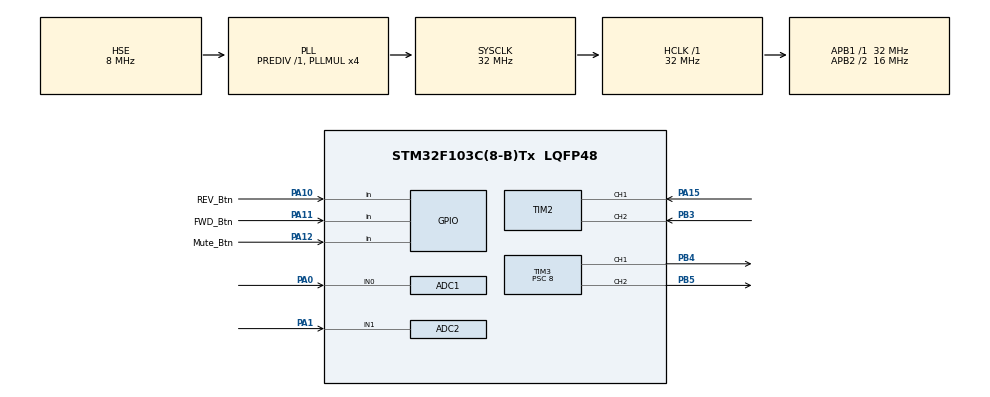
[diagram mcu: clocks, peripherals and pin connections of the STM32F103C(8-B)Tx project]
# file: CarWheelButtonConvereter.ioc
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ADC1.Channel-0\#ChannelRegularConversion=ADC_CHANNEL_0
ADC1.ContinuousConvMode=ENABLE
ADC1.NbrOfConversion=1
ADC1.NbrOfConversionFlag=1
ADC1.Rank-0\#ChannelRegularConversion=1
ADC1.SamplingTime-0\#ChannelRegularConversion=ADC_SAMPLETIME_239CYCLES_5
ADC1.master=1
ADC2.Channel-0\#ChannelRegularConversion=ADC_CHANNEL_1
ADC2.ContinuousConvMode=ENABLE
ADC2.EnableInjectedConversion=DISABLE
ADC2.NbrOfConversion=1
ADC2.NbrOfConversionFlag=1
ADC2.Rank-0\#ChannelRegularConversion=1
ADC2.SamplingTime-0\#ChannelRegularConversion=ADC_SAMPLETIME_239CYCLES_5
Mcu.Family=STM32F1
Mcu.Name=STM32F103C(8-B)Tx
Mcu.Package=LQFP48
NVIC.PriorityGroup=NVIC_PRIORITYGROUP_4
PA0-WKUP.Signal=ADCx_IN0
PA1.Signal=ADCx_IN1
PA10.GPIO_Label=REV_Btn
PA10.GPIO_PuPd=GPIO_PULLDOWN
PA10.Signal=GPIO_Input
PA11.GPIO_Label=FWD_Btn
PA11.GPIO_PuPd=GPIO_PULLDOWN
PA11.Signal=GPIO_Input
PA12.GPIO_Label=Mute_Btn
PA12.GPIO_PuPd=GPIO_PULLDOWN
PA12.Signal=GPIO_Input
PA13.Mode=Serial_Wire
PA13.Signal=SYS_JTMS-SWDIO
PA14.Mode=Serial_Wire
PA14.Signal=SYS_JTCK-SWCLK
PA15.Signal=S_TIM2_CH1_ETR
PB3.Signal=S_TIM2_CH2
PB4.GPIO_ModeDefaultPP=GPIO_MODE_AF_OD
PB4.GPIO_Speed=GPIO_SPEED_FREQ_HIGH
PB4.Signal=S_TIM3_CH1
PB5.GPIO_ModeDefaultPP=GPIO_MODE_AF_OD
PB5.GPIO_Speed=GPIO_SPEED_FREQ_HIGH
PB5.Signal=S_TIM3_CH2
PC14-OSC32_IN.Mode=LSE-External-Oscillator
PC14-OSC32_IN.Signal=RCC_OSC32_IN
PC15-OSC32_OUT.Mode=LSE-External-Oscillator
PC15-OSC32_OUT.Signal=RCC_OSC32_OUT
PD0-OSC_IN.Mode=HSE-External-Oscillator
PD0-OSC_IN.Signal=RCC_OSC_IN
PD1-OSC_OUT.Mode=HSE-External-Oscillator
PD1-OSC_OUT.Signal=RCC_OSC_OUT
ProjectManager.HeapSize=0x200
ProjectManager.StackSize=0x400
ProjectManager.TargetToolchain=STM32CubeIDE
RCC.ADCPresc=RCC_ADCPCLK2_DIV8
RCC.AHBFreq_Value=32000000
RCC.APB1Freq_Value=32000000
RCC.APB1TimFreq_Value=32000000
RCC.APB2CLKDivider=RCC_HCLK_DIV2
RCC.APB2Freq_Value=16000000
RCC.APB2TimFreq_Value=32000000
RCC.HCLKFreq_Value=32000000
RCC.PLLMUL=RCC_PLL_MUL4
RCC.PLLSourceVirtual=RCC_PLLSOURCE_HSE
RCC.SYSCLKFreq_VALUE=32000000
RCC.SYSCLKSource=RCC_SYSCLKSOURCE_PLLCLK
RCC.USBFreq_Value=32000000
SH.ADCx_IN0.0=ADC1_IN0,IN0
SH.ADCx_IN1.0=ADC2_IN1,IN1
SH.S_TIM2_CH1_ETR.0=TIM2_CH1,Encoder_Interface
SH.S_TIM2_CH2.0=TIM2_CH2,Encoder_Interface
SH.S_TIM3_CH1.0=TIM3_CH1,PWM Generation1 CH1
SH.S_TIM3_CH2.0=TIM3_CH2,PWM Generation2 CH2
TIM2.AutoReloadPreload=TIM_AUTORELOAD_PRELOAD_ENABLE
TIM2.EncoderMode=TIM_ENCODERMODE_TI12
TIM2.IC1Filter=10
TIM2.IC2Filter=10
TIM3.Channel-PWM\ Generation1\ CH1=TIM_CHANNEL_1
TIM3.Channel-PWM\ Generation2\ CH2=TIM_CHANNEL_2
TIM3.OCPolarity_1=TIM_OCPOLARITY_LOW
TIM3.OCPolarity_2=TIM_OCPOLARITY_LOW
TIM3.Period=249
TIM3.Prescaler=8
VP_ADC1_Vref_Input.Mode=IN-Vrefint
VP_IWDG_VS_IWDG.Mode=IWDG_Activate
board=custom

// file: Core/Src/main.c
/* USER CODE BEGIN Header */
/**
  ******************************************************************************
  * @file           : main.c
  * @brief          : Main program body
  ******************************************************************************
  * @attention
  *
  * Copyright (c) 2023 STMicroelectronics.
  * All rights reserved.
  *
  * This software is licensed under terms that can be found in the LICENSE file
  * in the root directory of this software component.
  * If no LICENSE file comes with this software, it is provided AS-IS.
  *
  ******************************************************************************
  */
/* USER CODE END Header */
#include "main.h"

ADC_HandleTypeDef hadc1;
ADC_HandleTypeDef hadc2;

IWDG_HandleTypeDef hiwdg;

TIM_HandleTypeDef htim2;
TIM_HandleTypeDef htim3;

void SystemClock_Config(void);
static void MX_GPIO_Init(void);
static void MX_ADC1_Init(void);
static void MX_ADC2_Init(void);
static void MX_IWDG_Init(void);
static void MX_TIM3_Init(void);
static void MX_TIM2_Init(void);

int main(void)
{
  /* USER CODE BEGIN 1 */
	static uint16_t MA_Buffer1[MA_BUFFER_SIZE];
	static uint16_t MA_Buffer2[MA_BUFFER_SIZE];
	static uint8_t bufPointer = 0;
	uint32_t tempSum1, tempSum2;
	static uint8_t count1 = 0;
	static uint8_t count2 = 0;
	static uint8_t selectedIndex1 = 15;
	static uint8_t selectedIndex2 = 15;

	static uint16_t prevEncoder;
	static uint16_t currentEncoder;
	static uint32_t out1ChangeTime, out2ChangeTime;

	static uint16_t volIncreaseCnt = 0;
	static uint16_t volDecreaseCnt = 0;
	static uint8_t volReleaseFlag = 0;
	static uint8_t muteCount = 0;
	static uint8_t fwdCount = 0;
	static uint8_t revCount = 0;
	static uint8_t doMute = 0;
	static uint8_t doFwd = 0;
	static uint8_t doRev = 0;

	uint8_t index;

	const uint16_t thresholds1[] = {362, 651, 1016, 1489, 2129, 2400, 2969, 5000};
	const uint16_t thresholds2[] = {362, 651, 1016, 1489, 2129, 2400, 2969, 5000};
	//PWM values num of cycles @ timer clock, (4MHz), period is 250 cycles
	const uint8_t pwmValues1[16]= {240, 55, 30, 16, 8, 8, 2, 0, 0, 0, 0};
	const uint8_t pwmValues2[16]= {240, 55, 30, 16, 8, 8, 2, 0, 0, 0, 0};
	//Simulation based : {60, 44, 30, 22, 16, 10, 4, 0, 0}

  /* USER CODE END 1 */

  /* MCU Configuration--------------------------------------------------------*/

  /* Reset of all peripherals, Initializes the Flash interface and the Systick. */
  HAL_Init();

  /* Configure the system clock */
  SystemClock_Config();

  /* Initialize all configured peripherals */
  MX_GPIO_Init();
  MX_ADC1_Init();
  MX_ADC2_Init();
  MX_IWDG_Init();
  MX_TIM3_Init();
  MX_TIM2_Init();
  /* USER CODE BEGIN 2 */
  HAL_TIM_PWM_Start(&htim3, TIM_CHANNEL_1);
  HAL_TIM_PWM_Start(&htim3, TIM_CHANNEL_2);

  HAL_TIM_Encoder_Start(&htim2, TIM_CHANNEL_ALL);
  TIM2->CNT = 32768;
  prevEncoder = TIM2->CNT;

  HAL_ADCEx_Calibration_Start(&hadc1);
  HAL_ADCEx_Calibration_Start(&hadc2);

  HAL_ADC_Start(&hadc1);
  HAL_ADC_Start(&hadc2);
  /* USER CODE END 2 */

  /* Infinite loop */
  /* USER CODE BEGIN WHILE */
  while (1)
  {
	 HAL_IWDG_Refresh(&hiwdg);

	 HAL_ADC_PollForConversion(&hadc1, 10);
	 MA_Buffer1[bufPointer] = (uint16_t)HAL_ADC_GetValue(&hadc1);
	 HAL_ADC_PollForConversion(&hadc2, 10);
	 MA_Buffer2[bufPointer] = (uint16_t)HAL_ADC_GetValue(&hadc2);

	 bufPointer++;

	 // Main Inputs (Steering wheel buttons)
	 if (bufPointer >= MA_BUFFER_SIZE){
		 tempSum1 = 0;
		 tempSum2 = 0;
		 for (bufPointer = 0; bufPointer < MA_BUFFER_SIZE ; bufPointer++) {
			 tempSum1 += MA_Buffer1[bufPointer];
			 tempSum2 += MA_Buffer2[bufPointer];
		 }
		 bufPointer = 0;

		 tempSum1 = tempSum1 / MA_BUFFER_SIZE;
		 tempSum2 = tempSum2 / MA_BUFFER_SIZE;

		 // Find threshold for CH1
		 index = 0;
		 while (tempSum1 > thresholds1[index]){
			 index++;
		 }
		 // does it match the previous index?
		 if (selectedIndex1 == index){
			 count1++;
		 } else {
			 count1 = 0;
			 selectedIndex1 = index;
		 }
		 // Find threshold for CH2
		 index = 0;
		 while (tempSum2 > thresholds2[index]){
			 index++;
		 }
		 // does it match the previous index?
		 if (selectedIndex2 == index){
			 count2++;
		 } else {
			 count2 = 0;
			 selectedIndex2 = index;
		 }
		 // do we need to update the PWM
		 if (count1 >= COUNTS_TO_UPDATE){
			 if ((HAL_GetTick() - out1ChangeTime) > OUTPUT_HOLD_TICKS) {
				 if (TIM3->CCR1 != (uint16_t)pwmValues1[selectedIndex1]) {
					 TIM3->CCR1 = (uint16_t)pwmValues1[selectedIndex1];
					 out1ChangeTime = HAL_GetTick();
				}
				 count1 = 0;
			 } else {
				 count1 = COUNTS_TO_UPDATE;
			 }
		 }

		 if (count2 >= COUNTS_TO_UPDATE){
			 if ((HAL_GetTick() - out2ChangeTime) > OUTPUT_HOLD_TICKS)  {
				 if (TIM3->CCR2 != (uint16_t)pwmValues2[selectedIndex2]) {
					 TIM3->CCR2 = (uint16_t)pwmValues2[selectedIndex2];
					 out2ChangeTime = HAL_GetTick();
				 }
				 count2 = 0;
			 } else {
				 count2 = COUNTS_TO_UPDATE;
			 }
		 }
	 }

	 //Auxiliary inputs:

	 currentEncoder = TIM2->CNT;
	 if (prevEncoder < currentEncoder) {
		 volIncreaseCnt += (currentEncoder - prevEncoder);
		 volDecreaseCnt = 0;
	 } else if (prevEncoder > currentEncoder) {
		 volDecreaseCnt += (prevEncoder - currentEncoder);
		 volIncreaseCnt = 0;
	 }

	 //Center encoder if close to edges
	 if ((currentEncoder < 10000) || (currentEncoder > 55000)){
		 TIM2->CNT = 32768 + (int)(TIM2->CNT - currentEncoder);
		 currentEncoder = 32768;
	 }
	 prevEncoder = currentEncoder;

	 if (LL_GPIO_IsInputPinSet(Mute_Btn_GPIO_Port, Mute_Btn_Pin)) {
			 muteCount++;
	 } else {
		 muteCount = 0;
	 }

	 if (LL_GPIO_IsInputPinSet(FWD_Btn_GPIO_Port, FWD_Btn_Pin)) {
		 fwdCount++;
	 } else {
		 fwdCount = 0;
	 }

	 if (LL_GPIO_IsInputPinSet(REV_Btn_GPIO_Port, REV_Btn_Pin)) {
		 revCount++;
	 } else {
		 revCount = 0;
	 }

	 if (muteCount > MIN_BTN_COUNT) {
		 doMute = 1;
	 } else if (fwdCount > MIN_BTN_COUNT) {
		 doFwd = 1;
	 } else if (revCount > MIN_BTN_COUNT) {
		 doRev = 1;
	 }

	 if (doMute || doFwd || doRev) {
		 muteCount = 0;
		 fwdCount = 0;
		 revCount = 0;
	 }
	 // output 1
	 if ((HAL_GetTick() - out1ChangeTime) > OUTPUT_HOLD_TICKS) {
		 if (volReleaseFlag) {
			 TIM3->CCR1 = (uint16_t)pwmValues1[DEFAULT_INDEX1];
			 out1ChangeTime = HAL_GetTick();
			 volReleaseFlag = 0;
		 } else if (volIncreaseCnt){
			 TIM3->CCR1 = (uint16_t)pwmValues1[VOL_INCR_INDEX];
			 out1ChangeTime = HAL_GetTick();
			 volIncreaseCnt--;
			 volReleaseFlag = 1;
		 } else if (volDecreaseCnt){
			 TIM3->CCR1 = (uint16_t)pwmValues1[VOL_INCR_INDEX];
			 out1ChangeTime = HAL_GetTick();
			 volDecreaseCnt--;
			 volReleaseFlag = 1;
		 } else if (doMute) {
			 TIM3->CCR1 = (uint16_t)pwmValues1[MUTE_INDEX];
			 out1ChangeTime = HAL_GetTick();
			 doMute = 0;
		 } else if (doFwd) {
			 TIM3->CCR1 = (uint16_t)pwmValues1[FWD_INDEX];
			 out1ChangeTime = HAL_GetTick();
			 doFwd = 0;
		 } else if (doRev) {
			 TIM3->CCR1 = (uint16_t)pwmValues1[REV_INDEX];
			 out1ChangeTime = HAL_GetTick();
			 doRev = 0;
		 } else if (TIM3->CCR1 != (uint16_t)pwmValues1[DEFAULT_INDEX1]){
			 TIM3->CCR1 = (uint16_t)pwmValues1[DEFAULT_INDEX1];
			 out1ChangeTime = HAL_GetTick();
		 }
	 }
	 // output 2
	 if ((HAL_GetTick() - out2ChangeTime) > OUTPUT_HOLD_TICKS)  {
		 if (TIM3->CCR2 != (uint16_t)pwmValues1[DEFAULT_INDEX2]) {
			 TIM3->CCR2 = (uint16_t)pwmValues1[DEFAULT_INDEX2];
			 out2ChangeTime = HAL_GetTick();
		 }
	 }

    /* USER CODE END WHILE */

  }
}

void SystemClock_Config(void)
{
  RCC_OscInitTypeDef RCC_OscInitStruct = {0};
  RCC_ClkInitTypeDef RCC_ClkInitStruct = {0};
  RCC_PeriphCLKInitTypeDef PeriphClkInit = {0};

  /** Initializes the RCC Oscillators according to the specified parameters
  * in the RCC_OscInitTypeDef structure.
  */
  RCC_OscInitStruct.OscillatorType = RCC_OSCILLATORTYPE_LSI|RCC_OSCILLATORTYPE_HSE;
  RCC_OscInitStruct.HSEState = RCC_HSE_ON;
  RCC_OscInitStruct.HSEPredivValue = RCC_HSE_PREDIV_DIV1;
  RCC_OscInitStruct.HSIState = RCC_HSI_ON;
  RCC_OscInitStruct.LSIState = RCC_LSI_ON;
  RCC_OscInitStruct.PLL.PLLState = RCC_PLL_ON;
  RCC_OscInitStruct.PLL.PLLSource = RCC_PLLSOURCE_HSE;
  RCC_OscInitStruct.PLL.PLLMUL = RCC_PLL_MUL4;
  if (HAL_RCC_OscConfig(&RCC_OscInitStruct) != HAL_OK)
  {
    Error_Handler();
  }

  /** Initializes the CPU, AHB and APB buses clocks
  */
  RCC_ClkInitStruct.ClockType = RCC_CLOCKTYPE_HCLK|RCC_CLOCKTYPE_SYSCLK
                              |RCC_CLOCKTYPE_PCLK1|RCC_CLOCKTYPE_PCLK2;
  RCC_ClkInitStruct.SYSCLKSource = RCC_SYSCLKSOURCE_PLLCLK;
  RCC_ClkInitStruct.AHBCLKDivider = RCC_SYSCLK_DIV1;
  RCC_ClkInitStruct.APB1CLKDivider = RCC_HCLK_DIV1;
  RCC_ClkInitStruct.APB2CLKDivider = RCC_HCLK_DIV2;

  if (HAL_RCC_ClockConfig(&RCC_ClkInitStruct, FLASH_LATENCY_1) != HAL_OK)
  {
    Error_Handler();
  }
  PeriphClkInit.PeriphClockSelection = RCC_PERIPHCLK_ADC;
  PeriphClkInit.AdcClockSelection = RCC_ADCPCLK2_DIV8;
  if (HAL_RCCEx_PeriphCLKConfig(&PeriphClkInit) != HAL_OK)
  {
    Error_Handler();
  }
}

static void MX_ADC1_Init(void)
{

  ADC_ChannelConfTypeDef sConfig = {0};

  /** Common config
  */
  hadc1.Instance = ADC1;
  hadc1.Init.ScanConvMode = ADC_SCAN_DISABLE;
  hadc1.Init.ContinuousConvMode = ENABLE;
  hadc1.Init.DiscontinuousConvMode = DISABLE;
  hadc1.Init.ExternalTrigConv = ADC_SOFTWARE_START;
  hadc1.Init.DataAlign = ADC_DATAALIGN_RIGHT;
  hadc1.Init.NbrOfConversion = 1;
  if (HAL_ADC_Init(&hadc1) != HAL_OK)
  {
    Error_Handler();
  }

  /** Configure Regular Channel
  */
  sConfig.Channel = ADC_CHANNEL_0;
  sConfig.Rank = ADC_REGULAR_RANK_1;
  sConfig.SamplingTime = ADC_SAMPLETIME_239CYCLES_5;
  if (HAL_ADC_ConfigChannel(&hadc1, &sConfig) != HAL_OK)
  {
    Error_Handler();
  }

}

static void MX_ADC2_Init(void)
{

  ADC_ChannelConfTypeDef sConfig = {0};

  /** Common config
  */
  hadc2.Instance = ADC2;
  hadc2.Init.ScanConvMode = ADC_SCAN_DISABLE;
  hadc2.Init.ContinuousConvMode = ENABLE;
  hadc2.Init.DiscontinuousConvMode = DISABLE;
  hadc2.Init.ExternalTrigConv = ADC_SOFTWARE_START;
  hadc2.Init.DataAlign = ADC_DATAALIGN_RIGHT;
  hadc2.Init.NbrOfConversion = 1;
  if (HAL_ADC_Init(&hadc2) != HAL_OK)
  {
    Error_Handler();
  }

  /** Configure Regular Channel
  */
  sConfig.Channel = ADC_CHANNEL_1;
  sConfig.Rank = ADC_REGULAR_RANK_1;
  sConfig.SamplingTime = ADC_SAMPLETIME_239CYCLES_5;
  if (HAL_ADC_ConfigChannel(&hadc2, &sConfig) != HAL_OK)
  {
    Error_Handler();
  }

}

static void MX_IWDG_Init(void)
{

  hiwdg.Instance = IWDG;
  hiwdg.Init.Prescaler = IWDG_PRESCALER_4;
  hiwdg.Init.Reload = 4095;
  if (HAL_IWDG_Init(&hiwdg) != HAL_OK)
  {
    Error_Handler();
  }

}

static void MX_TIM2_Init(void)
{

  TIM_Encoder_InitTypeDef sConfig = {0};
  TIM_MasterConfigTypeDef sMasterConfig = {0};

  htim2.Instance = TIM2;
  htim2.Init.Prescaler = 0;
  htim2.Init.CounterMode = TIM_COUNTERMODE_UP;
  htim2.Init.Period = 65535;
  htim2.Init.ClockDivision = TIM_CLOCKDIVISION_DIV1;
  htim2.Init.AutoReloadPreload = TIM_AUTORELOAD_PRELOAD_ENABLE;
  sConfig.EncoderMode = TIM_ENCODERMODE_TI12;
  sConfig.IC1Polarity = TIM_ICPOLARITY_RISING;
  sConfig.IC1Selection = TIM_ICSELECTION_DIRECTTI;
  sConfig.IC1Prescaler = TIM_ICPSC_DIV1;
  sConfig.IC1Filter = 10;
  sConfig.IC2Polarity = TIM_ICPOLARITY_RISING;
  sConfig.IC2Selection = TIM_ICSELECTION_DIRECTTI;
  sConfig.IC2Prescaler = TIM_ICPSC_DIV1;
  sConfig.IC2Filter = 10;
  if (HAL_TIM_Encoder_Init(&htim2, &sConfig) != HAL_OK)
  {
    Error_Handler();
  }
  sMasterConfig.MasterOutputTrigger = TIM_TRGO_RESET;
  sMasterConfig.MasterSlaveMode = TIM_MASTERSLAVEMODE_DISABLE;
  if (HAL_TIMEx_MasterConfigSynchronization(&htim2, &sMasterConfig) != HAL_OK)
  {
    Error_Handler();
  }

}

static void MX_TIM3_Init(void)
{

  TIM_MasterConfigTypeDef sMasterConfig = {0};
  TIM_OC_InitTypeDef sConfigOC = {0};

  htim3.Instance = TIM3;
  htim3.Init.Prescaler = 8;
  htim3.Init.CounterMode = TIM_COUNTERMODE_UP;
  htim3.Init.Period = 249;
  htim3.Init.ClockDivision = TIM_CLOCKDIVISION_DIV1;
  htim3.Init.AutoReloadPreload = TIM_AUTORELOAD_PRELOAD_DISABLE;
  if (HAL_TIM_PWM_Init(&htim3) != HAL_OK)
  {
    Error_Handler();
  }
  sMasterConfig.MasterOutputTrigger = TIM_TRGO_RESET;
  sMasterConfig.MasterSlaveMode = TIM_MASTERSLAVEMODE_DISABLE;
  if (HAL_TIMEx_MasterConfigSynchronization(&htim3, &sMasterConfig) != HAL_OK)
  {
    Error_Handler();
  }
  sConfigOC.OCMode = TIM_OCMODE_PWM1;
  sConfigOC.Pulse = 0;
  sConfigOC.OCPolarity = TIM_OCPOLARITY_LOW;
  sConfigOC.OCFastMode = TIM_OCFAST_DISABLE;
  if (HAL_TIM_PWM_ConfigChannel(&htim3, &sConfigOC, TIM_CHANNEL_1) != HAL_OK)
  {
    Error_Handler();
  }
  if (HAL_TIM_PWM_ConfigChannel(&htim3, &sConfigOC, TIM_CHANNEL_2) != HAL_OK)
  {
    Error_Handler();
  }
  HAL_TIM_MspPostInit(&htim3);

}

static void MX_GPIO_Init(void)
{
  LL_GPIO_InitTypeDef GPIO_InitStruct = {0};

  /* GPIO Ports Clock Enable */
  LL_APB2_GRP1_EnableClock(LL_APB2_GRP1_PERIPH_GPIOC);
  LL_APB2_GRP1_EnableClock(LL_APB2_GRP1_PERIPH_GPIOD);
  LL_APB2_GRP1_EnableClock(LL_APB2_GRP1_PERIPH_GPIOA);
  LL_APB2_GRP1_EnableClock(LL_APB2_GRP1_PERIPH_GPIOB);

  /**/
  GPIO_InitStruct.Pin = REV_Btn_Pin|FWD_Btn_Pin|Mute_Btn_Pin;
  GPIO_InitStruct.Mode = LL_GPIO_MODE_INPUT;
  GPIO_InitStruct.Pull = LL_GPIO_PULL_DOWN;
  LL_GPIO_Init(GPIOA, &GPIO_InitStruct);

}

void Error_Handler(void)
{
  __disable_irq();
  while (1)
  {
  }
}
